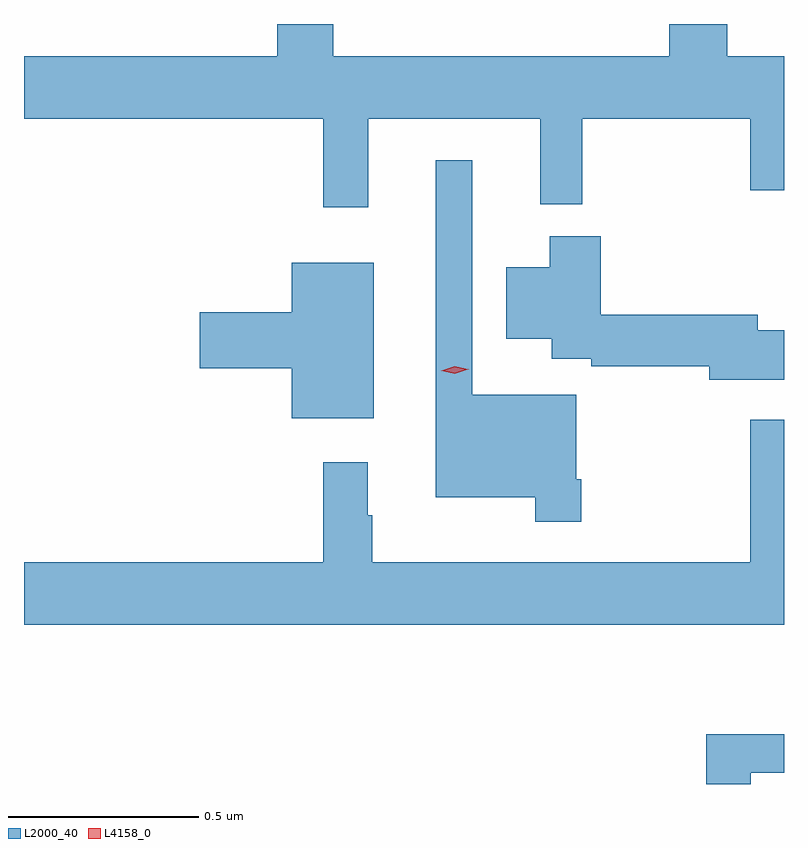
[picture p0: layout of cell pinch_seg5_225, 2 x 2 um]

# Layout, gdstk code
import gdstk
lib = gdstk.Library(unit=1e-6, precision=1e-09)
def P(c, l, *ps):  # polygons
    for p in ps: c.add(gdstk.Polygon(p, *l))
L2000_40 = (2000, 40)
L4158_0 = (4158, 0)

pinch_seg5_225 = lib.new_cell('pinch_seg5_225')
P(pinch_seg5_225, L2000_40, [(979.187,907.376),(979.64,907.376),(979.64,907.151),(979.75,907.151),(979.75,907.376),(980.192,907.376),(980.192,907.188),(980.281,907.188),(980.281,907.54),(980.132,907.54),(980.132,907.625),(979.979,907.625),(979.979,907.54),(979.095,907.54),(979.095,907.625),(978.947,907.625),(978.947,907.54),(978.281,907.54),(978.281,907.376),(979.069,907.376),(979.069,907.143),(979.187,907.143)],
  [(979.747,906.427),(979.734,906.427),(979.734,906.649),(979.461,906.649),(979.461,907.267),(979.364,907.267),(979.364,906.38),(979.626,906.38),(979.626,906.315),(979.747,906.315)],
  [(980.281,906.819),(980.212,906.819),(980.212,906.86),(979.799,906.86),(979.799,907.066),(979.664,907.066),(979.664,906.985),(979.55,906.985),(979.55,906.797),(979.67,906.797),(979.67,906.744),(979.774,906.744),(979.774,906.724),(980.084,906.724),(980.084,906.689),(980.281,906.689)],
  [(979.201,906.997),(978.986,906.997),(978.986,906.866),(978.744,906.866),(978.744,906.719),(978.986,906.719),(978.986,906.587),(979.201,906.587)],
  [(980.281,906.583),(980.192,906.583),(980.192,906.208),(979.198,906.208),(979.198,906.332),(979.186,906.332),(979.186,906.472),(979.069,906.472),(979.069,906.208),(978.281,906.208),(978.281,906.044),(980.281,906.044)],
  [(980.193,905.655),(980.281,905.655),(980.281,905.756),(980.077,905.756),(980.077,905.625),(980.193,905.625)])
P(pinch_seg5_225, L4158_0, [(979.415,906.704),(979.379,906.712),(979.379,906.712),(979.379,906.712),(979.414,906.724),(979.45,906.716),(979.451,906.716),(979.45,906.716)])

lib.write_gds('pinch_seg5_225.gds')
